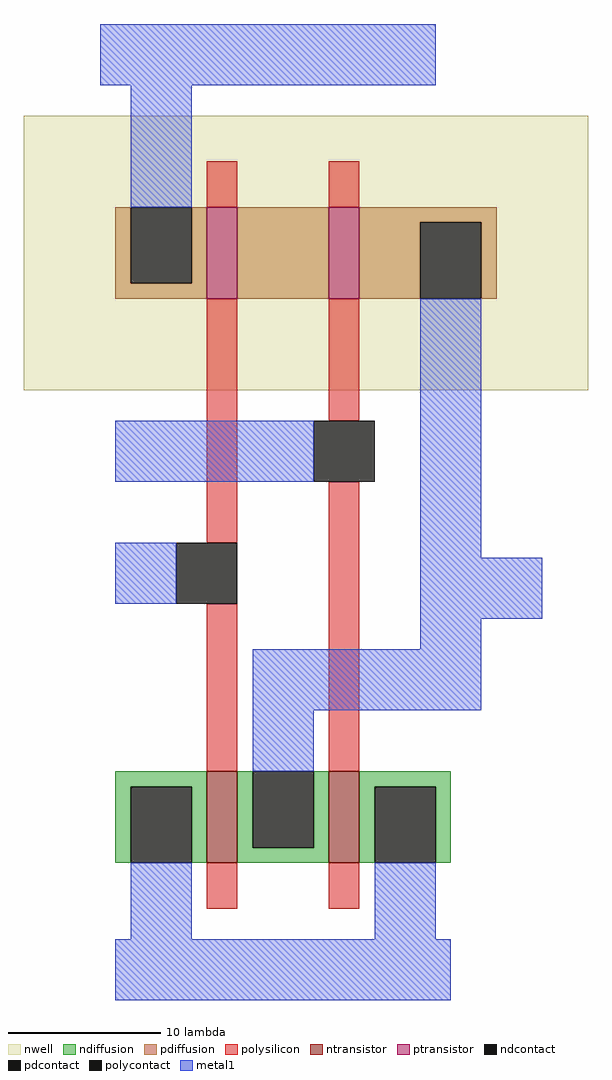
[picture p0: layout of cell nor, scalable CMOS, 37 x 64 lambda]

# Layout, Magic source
magic
tech scmos
<< nwell >>
rect 0 0 37 18
<< ntransistor >>
rect 12 -31 14 -25
rect 20 -31 22 -25
<< ptransistor >>
rect 12 6 14 12
rect 20 6 22 12
<< ndiffusion >>
rect 6 -26 12 -25
rect 6 -31 7 -26
rect 11 -31 12 -26
rect 14 -30 15 -25
rect 19 -30 20 -25
rect 14 -31 20 -30
rect 22 -26 28 -25
rect 22 -31 23 -26
rect 27 -31 28 -26
<< pdiffusion >>
rect 6 7 7 12
rect 11 7 12 12
rect 6 6 12 7
rect 14 6 20 12
rect 22 11 31 12
rect 22 6 26 11
rect 30 6 31 11
<< ndcontact >>
rect 7 -31 11 -26
rect 15 -30 19 -25
rect 23 -31 27 -26
<< pdcontact >>
rect 7 7 11 12
rect 26 6 30 11
<< polysilicon >>
rect 12 12 14 15
rect 20 12 22 15
rect 12 -10 14 6
rect 20 -2 22 6
rect 12 -25 14 -14
rect 20 -25 22 -6
rect 12 -34 14 -31
rect 20 -34 22 -31
<< polycontact >>
rect 19 -6 23 -2
rect 10 -14 14 -10
<< metal1 >>
rect 5 20 27 24
rect 7 12 11 20
rect 6 -6 19 -2
rect 6 -14 10 -10
rect 26 -11 30 6
rect 26 -15 34 -11
rect 26 -17 30 -15
rect 15 -21 30 -17
rect 15 -25 19 -21
rect 7 -36 11 -31
rect 23 -36 27 -31
rect 6 -40 28 -36
<< end >>
